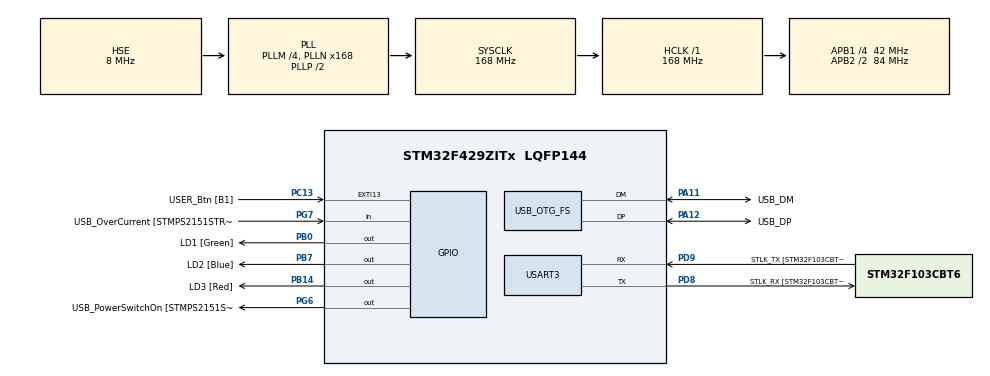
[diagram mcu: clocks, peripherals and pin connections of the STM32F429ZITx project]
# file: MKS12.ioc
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Mcu.Family=STM32F4
Mcu.Name=STM32F429ZITx
Mcu.Package=LQFP144
NVIC.OTG_FS_IRQn=true\:0\:0\:false\:false\:true\:false\:true\:true
NVIC.PriorityGroup=NVIC_PRIORITYGROUP_4
PA1.GPIO_Label=RMII_REF_CLK [LAN8742A-CZ-TR_REFCLK0]
PA1.Signal=ETH_REF_CLK
PA10.GPIO_Label=USB_ID
PA10.Signal=USB_OTG_FS_ID
PA11.GPIO_Label=USB_DM
PA11.Mode=Device_Only
PA11.Signal=USB_OTG_FS_DM
PA12.GPIO_Label=USB_DP
PA12.Mode=Device_Only
PA12.Signal=USB_OTG_FS_DP
PA13.GPIO_Label=TMS
PA13.Mode=Serial_Wire
PA13.Signal=SYS_JTMS-SWDIO
PA14.GPIO_Label=TCK
PA14.Mode=Serial_Wire
PA14.Signal=SYS_JTCK-SWCLK
PA2.GPIO_Label=RMII_MDIO [LAN8742A-CZ-TR_MDIO]
PA2.Signal=ETH_MDIO
PA7.GPIO_Label=RMII_CRS_DV [LAN8742A-CZ-TR_CRS_DV]
PA7.Signal=ETH_CRS_DV
PA8.GPIO_Label=USB_SOF [TP1]
PA8.Signal=USB_OTG_FS_SOF
PA9.GPIO_Label=USB_VBUS
PA9.Signal=USB_OTG_FS_VBUS
PB0.GPIO_Label=LD1 [Green]
PB0.Signal=GPIO_Output
PB13.GPIO_Label=RMII_TXD1 [LAN8742A-CZ-TR_TXD1]
PB13.Signal=ETH_TXD1
PB14.GPIO_Label=LD3 [Red]
PB14.Signal=GPIO_Output
PB7.GPIO_Label=LD2 [Blue]
PB7.Signal=GPIO_Output
PC1.GPIO_Label=RMII_MDC [LAN8742A-CZ-TR_MDC]
PC1.Signal=ETH_MDC
PC13.GPIO_Label=USER_Btn [B1]
PC13.Signal=GPXTI13
PC14/OSC32_IN.Mode=LSE-External-Oscillator
PC14/OSC32_IN.Signal=RCC_OSC32_IN
PC15/OSC32_OUT.Mode=LSE-External-Oscillator
PC15/OSC32_OUT.Signal=RCC_OSC32_OUT
PC4.GPIO_Label=RMII_RXD0 [LAN8742A-CZ-TR_RXD0]
PC4.Signal=ETH_RXD0
PC5.GPIO_Label=RMII_RXD1 [LAN8742A-CZ-TR_RXD1]
PC5.Signal=ETH_RXD1
PD8.GPIO_Label=STLK_RX [STM32F103CBT6_PA3]
PD8.Mode=Asynchronous
PD8.Signal=USART3_TX
PD9.GPIO_Label=STLK_TX [STM32F103CBT6_PA2]
PD9.Mode=Asynchronous
PD9.Signal=USART3_RX
PG11.GPIO_Label=RMII_TX_EN [LAN8742A-CZ-TR_TXEN]
PG11.Signal=ETH_TX_EN
PG13.GPIO_Label=RMII_TXD0 [LAN8742A-CZ-TR_TXD0]
PG13.Signal=ETH_TXD0
PG6.GPIO_Label=USB_PowerSwitchOn [STMPS2151STR_EN]
PG6.Signal=GPIO_Output
PG7.GPIO_Label=USB_OverCurrent [STMPS2151STR_FAULT]
PG7.Signal=GPIO_Input
PH0/OSC_IN.GPIO_Label=MCO [STM32F103CBT6_PA8]
PH0/OSC_IN.Mode=HSE-External-Clock-Source
PH0/OSC_IN.Signal=RCC_OSC_IN
PH1/OSC_OUT.Mode=HSE-External-Clock-Source
PH1/OSC_OUT.Signal=RCC_OSC_OUT
ProjectManager.HeapSize=0x200
ProjectManager.StackSize=0x400
ProjectManager.TargetToolchain=STM32CubeIDE
RCC.48MHZClocksFreq_Value=48000000
RCC.AHBFreq_Value=168000000
RCC.APB1CLKDivider=RCC_HCLK_DIV4
RCC.APB1Freq_Value=42000000
RCC.APB1TimFreq_Value=84000000
RCC.APB2CLKDivider=RCC_HCLK_DIV2
RCC.APB2Freq_Value=84000000
RCC.APB2TimCLKDivider=2
RCC.APB2TimFreq_Value=168000000
RCC.CortexFreq_Value=168000000
RCC.HCLKFreq_Value=168000000
RCC.HSE_VALUE=8000000
RCC.HSI_VALUE=16000000
RCC.PLLM=4
RCC.PLLMUL=RCC_PLL_MUL9
RCC.PLLN=168
RCC.PLLQ=7
RCC.PLLSourceVirtual=RCC_PLLSOURCE_HSE
RCC.PRESCALERUSB=RCC_USBCLKSOURCE_PLL_DIV1_5
RCC.SYSCLKFreq_VALUE=168000000
RCC.SYSCLKSource=RCC_SYSCLKSOURCE_PLLCLK
RCC.SYSCLKSourceVirtual=RCC_SYSCLKSOURCE_PLLCLK
RCC.USBFreq_Value=48000000
RCC.VCOOutputFreq_Value=336000000
USART3.VirtualMode=VM_ASYNC
USB_DEVICE.CLASS_NAME_FS=HID
USB_DEVICE.MANUFACTURER_STRING-HID_FS=GeorgeWasHere
USB_DEVICE.VirtualMode-HID_FS=Hid
USB_DEVICE.VirtualModeFS=Hid_FS
USB_OTG_FS.VirtualMode=Device_Only
VP_USB_DEVICE_VS_USB_DEVICE_HID_FS.Mode=HID_FS
board=NUCLEO-F429ZI

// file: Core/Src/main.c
/* USER CODE BEGIN Header */
/**
  ******************************************************************************
  * @file           : main.c
  * @brief          : Main program body
  ******************************************************************************
  * @attention
  *
  * Copyright (c) 2024 STMicroelectronics.
  * All rights reserved.
  *
  * This software is licensed under terms that can be found in the LICENSE file
  * in the root directory of this software component.
  * If no LICENSE file comes with this software, it is provided AS-IS.
  *
  ******************************************************************************
  */
/* USER CODE END Header */
#include "main.h"
#include "usb_device.h"

/* USER CODE BEGIN Includes */
#include "usbd_hid.h"
#include <math.h>
/* USER CODE END Includes */

UART_HandleTypeDef huart3;

/* USER CODE BEGIN PV */
extern USBD_HandleTypeDef hUsbDeviceFS;
/* USER CODE END PV */

void SystemClock_Config(void);
static void MX_GPIO_Init(void);
static void MX_USART3_UART_Init(void);

/* USER CODE BEGIN 0 */

// send mouse report
static void step(int8_t x, int8_t y, int8_t btn){
  uint8_t buff[4];
  buff[0] = btn;        // 1: left click, 2: right click, 0: none
  buff[1] = (int8_t)x;  // x coordinate
  buff[2] = (int8_t)y;  // y coordinate
  buff[3] = 0;          // wheel, 0: no scroll
  USBD_HID_SendReport(&hUsbDeviceFS, buff, sizeof(buff));
  HAL_Delay(USBD_HID_GetPollingInterval(&hUsbDeviceFS));
}

// draw full circle with radius r
static void circle(int8_t r){
  for(int i = 0; i < 361; i++){
    step(r * cosf(i * M_PI / 180.0), r * sinf(i * M_PI / 180.0), 1);
  }
  step(0,0,0);
}

// draw half-circle (smile) with radius r
static void smile(int8_t r){
  for(int i = 90; i < 270; i++){
    step(r * cosf(i * M_PI / 180.0), r * sinf(i * M_PI / 180.0), 1);
  }
  step(0,0,0);
}
/* USER CODE END 0 */

int main(void)
{

  /* MCU Configuration--------------------------------------------------------*/

  /* Reset of all peripherals, Initializes the Flash interface and the Systick. */
  HAL_Init();

  /* Configure the system clock */
  SystemClock_Config();

  /* Initialize all configured peripherals */
  MX_GPIO_Init();
  MX_USART3_UART_Init();
  MX_USB_DEVICE_Init();

  /* Infinite loop */
  /* USER CODE BEGIN WHILE */
  while (1)
  {
    if(HAL_GPIO_ReadPin(USER_Btn_GPIO_Port, USER_Btn_Pin)){
      // draw head
      circle(5);

      // draw eyes
      step(-40,30,0); // move to the position of the left eye
      circle(2);      // draw left eye
      step(80,0,0);   // move to the position of the right eye
      circle(2);      // draw right eye

      // draw nose
      step(-40,40,0); // move to the position of the nose
      step(0,0,1);    // click the left button
      step(0,30,1);   // draw the nose
      step(0,0,0);    // release the left button

      // draw mouth
      step(55,12,0);  // move to the position of the mouth
      smile(4);       // draw the mouth
    }
    /* USER CODE END WHILE */

  }
}

void SystemClock_Config(void)
{
  RCC_OscInitTypeDef RCC_OscInitStruct = {0};
  RCC_ClkInitTypeDef RCC_ClkInitStruct = {0};

  /** Configure the main internal regulator output voltage
  */
  __HAL_RCC_PWR_CLK_ENABLE();
  __HAL_PWR_VOLTAGESCALING_CONFIG(PWR_REGULATOR_VOLTAGE_SCALE1);

  /** Initializes the RCC Oscillators according to the specified parameters
  * in the RCC_OscInitTypeDef structure.
  */
  RCC_OscInitStruct.OscillatorType = RCC_OSCILLATORTYPE_HSE;
  RCC_OscInitStruct.HSEState = RCC_HSE_BYPASS;
  RCC_OscInitStruct.PLL.PLLState = RCC_PLL_ON;
  RCC_OscInitStruct.PLL.PLLSource = RCC_PLLSOURCE_HSE;
  RCC_OscInitStruct.PLL.PLLM = 4;
  RCC_OscInitStruct.PLL.PLLN = 168;
  RCC_OscInitStruct.PLL.PLLP = RCC_PLLP_DIV2;
  RCC_OscInitStruct.PLL.PLLQ = 7;
  if (HAL_RCC_OscConfig(&RCC_OscInitStruct) != HAL_OK)
  {
    Error_Handler();
  }

  /** Initializes the CPU, AHB and APB buses clocks
  */
  RCC_ClkInitStruct.ClockType = RCC_CLOCKTYPE_HCLK|RCC_CLOCKTYPE_SYSCLK
                              |RCC_CLOCKTYPE_PCLK1|RCC_CLOCKTYPE_PCLK2;
  RCC_ClkInitStruct.SYSCLKSource = RCC_SYSCLKSOURCE_PLLCLK;
  RCC_ClkInitStruct.AHBCLKDivider = RCC_SYSCLK_DIV1;
  RCC_ClkInitStruct.APB1CLKDivider = RCC_HCLK_DIV4;
  RCC_ClkInitStruct.APB2CLKDivider = RCC_HCLK_DIV2;

  if (HAL_RCC_ClockConfig(&RCC_ClkInitStruct, FLASH_LATENCY_5) != HAL_OK)
  {
    Error_Handler();
  }
}

static void MX_USART3_UART_Init(void)
{

  huart3.Instance = USART3;
  huart3.Init.BaudRate = 115200;
  huart3.Init.WordLength = UART_WORDLENGTH_8B;
  huart3.Init.StopBits = UART_STOPBITS_1;
  huart3.Init.Parity = UART_PARITY_NONE;
  huart3.Init.Mode = UART_MODE_TX_RX;
  huart3.Init.HwFlowCtl = UART_HWCONTROL_NONE;
  huart3.Init.OverSampling = UART_OVERSAMPLING_16;
  if (HAL_UART_Init(&huart3) != HAL_OK)
  {
    Error_Handler();
  }

}

static void MX_GPIO_Init(void)
{
  GPIO_InitTypeDef GPIO_InitStruct = {0};

  /* GPIO Ports Clock Enable */
  __HAL_RCC_GPIOC_CLK_ENABLE();
  __HAL_RCC_GPIOH_CLK_ENABLE();
  __HAL_RCC_GPIOA_CLK_ENABLE();
  __HAL_RCC_GPIOB_CLK_ENABLE();
  __HAL_RCC_GPIOD_CLK_ENABLE();
  __HAL_RCC_GPIOG_CLK_ENABLE();

  /*Configure GPIO pin Output Level */
  HAL_GPIO_WritePin(GPIOB, LD1_Pin|LD3_Pin|LD2_Pin, GPIO_PIN_RESET);

  /*Configure GPIO pin Output Level */
  HAL_GPIO_WritePin(USB_PowerSwitchOn_GPIO_Port, USB_PowerSwitchOn_Pin, GPIO_PIN_RESET);

  /*Configure GPIO pin : USER_Btn_Pin */
  GPIO_InitStruct.Pin = USER_Btn_Pin;
  GPIO_InitStruct.Mode = GPIO_MODE_IT_RISING;
  GPIO_InitStruct.Pull = GPIO_NOPULL;
  HAL_GPIO_Init(USER_Btn_GPIO_Port, &GPIO_InitStruct);

  /*Configure GPIO pins : RMII_MDC_Pin RMII_RXD0_Pin RMII_RXD1_Pin */
  GPIO_InitStruct.Pin = RMII_MDC_Pin|RMII_RXD0_Pin|RMII_RXD1_Pin;
  GPIO_InitStruct.Mode = GPIO_MODE_AF_PP;
  GPIO_InitStruct.Pull = GPIO_NOPULL;
  GPIO_InitStruct.Speed = GPIO_SPEED_FREQ_VERY_HIGH;
  GPIO_InitStruct.Alternate = GPIO_AF11_ETH;
  HAL_GPIO_Init(GPIOC, &GPIO_InitStruct);

  /*Configure GPIO pins : RMII_REF_CLK_Pin RMII_MDIO_Pin RMII_CRS_DV_Pin */
  GPIO_InitStruct.Pin = RMII_REF_CLK_Pin|RMII_MDIO_Pin|RMII_CRS_DV_Pin;
  GPIO_InitStruct.Mode = GPIO_MODE_AF_PP;
  GPIO_InitStruct.Pull = GPIO_NOPULL;
  GPIO_InitStruct.Speed = GPIO_SPEED_FREQ_VERY_HIGH;
  GPIO_InitStruct.Alternate = GPIO_AF11_ETH;
  HAL_GPIO_Init(GPIOA, &GPIO_InitStruct);

  /*Configure GPIO pins : LD1_Pin LD3_Pin LD2_Pin */
  GPIO_InitStruct.Pin = LD1_Pin|LD3_Pin|LD2_Pin;
  GPIO_InitStruct.Mode = GPIO_MODE_OUTPUT_PP;
  GPIO_InitStruct.Pull = GPIO_NOPULL;
  GPIO_InitStruct.Speed = GPIO_SPEED_FREQ_LOW;
  HAL_GPIO_Init(GPIOB, &GPIO_InitStruct);

  /*Configure GPIO pin : RMII_TXD1_Pin */
  GPIO_InitStruct.Pin = RMII_TXD1_Pin;
  GPIO_InitStruct.Mode = GPIO_MODE_AF_PP;
  GPIO_InitStruct.Pull = GPIO_NOPULL;
  GPIO_InitStruct.Speed = GPIO_SPEED_FREQ_VERY_HIGH;
  GPIO_InitStruct.Alternate = GPIO_AF11_ETH;
  HAL_GPIO_Init(RMII_TXD1_GPIO_Port, &GPIO_InitStruct);

  /*Configure GPIO pin : USB_PowerSwitchOn_Pin */
  GPIO_InitStruct.Pin = USB_PowerSwitchOn_Pin;
  GPIO_InitStruct.Mode = GPIO_MODE_OUTPUT_PP;
  GPIO_InitStruct.Pull = GPIO_NOPULL;
  GPIO_InitStruct.Speed = GPIO_SPEED_FREQ_LOW;
  HAL_GPIO_Init(USB_PowerSwitchOn_GPIO_Port, &GPIO_InitStruct);

  /*Configure GPIO pin : USB_OverCurrent_Pin */
  GPIO_InitStruct.Pin = USB_OverCurrent_Pin;
  GPIO_InitStruct.Mode = GPIO_MODE_INPUT;
  GPIO_InitStruct.Pull = GPIO_NOPULL;
  HAL_GPIO_Init(USB_OverCurrent_GPIO_Port, &GPIO_InitStruct);

  /*Configure GPIO pins : RMII_TX_EN_Pin RMII_TXD0_Pin */
  GPIO_InitStruct.Pin = RMII_TX_EN_Pin|RMII_TXD0_Pin;
  GPIO_InitStruct.Mode = GPIO_MODE_AF_PP;
  GPIO_InitStruct.Pull = GPIO_NOPULL;
  GPIO_InitStruct.Speed = GPIO_SPEED_FREQ_VERY_HIGH;
  GPIO_InitStruct.Alternate = GPIO_AF11_ETH;
  HAL_GPIO_Init(GPIOG, &GPIO_InitStruct);

}

void Error_Handler(void)
{
  __disable_irq();
  while (1)
  {
  }
}
